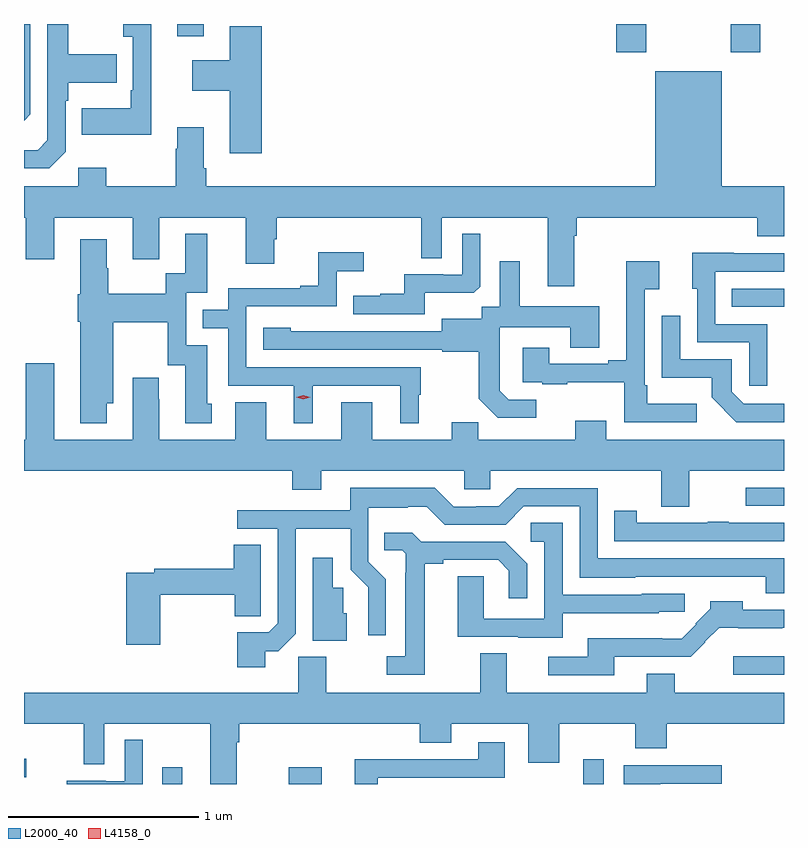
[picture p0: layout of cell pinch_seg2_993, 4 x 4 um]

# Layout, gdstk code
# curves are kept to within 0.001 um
import gdstk
lib = gdstk.Library(unit=1e-6, precision=1e-09)
def R(c, l, rs):  # rectangles x0, y0, x1, y1
    for r in rs: c.add(gdstk.rectangle(r[:2], r[2:], *l))
def P(c, l, *ps):  # polygons
    for p in ps: c.add(gdstk.Polygon(p, *l))
L2000_40 = (2000, 40)
L4158_0 = (4158, 0)

pinch_seg2_993 = lib.new_cell('pinch_seg2_993')
R(pinch_seg2_993, L2000_40, [(158.759,592.707,158.863,592.795), (159.425,592.707,159.598,592.795), (160.974,592.707,161.083,592.837), (158.031,592.742,158.044,592.841), (161.763,593.283,162.031,593.38), (161.829,594.171,162.031,594.267), (161.755,595.218,162.031,595.314), (161.147,596.559,161.307,596.707), (161.752,596.559,161.907,596.707), (158.837,596.643,158.977,596.707)])
P(pinch_seg2_993, L2000_40, [(158.25,596.034),(158.25,596.303),(158.263,596.303),(158.263,596.399),(158.519,596.399),(158.519,596.547),(158.263,596.547),(158.263,596.707),(158.154,596.707),(158.154,596.094),(158.103,596.043),(158.031,596.043),(158.031,595.947),(158.163,595.947)],
  [(158.064,596.232),(158.064,596.707),(158.031,596.707),(158.031,596.199)],
  [(158.702,596.707),(158.553,596.707),(158.553,596.639),(158.604,596.639),(158.604,596.359),(158.592,596.359),(158.592,596.263),(158.335,596.263),(158.335,596.123),(158.702,596.123)],
  [(159.281,596.695),(159.113,596.695),(159.113,596.515),(158.916,596.515),(158.916,596.357),(159.113,596.357),(159.113,596.028),(159.281,596.028)],
  [(159.197,595.446),(159.349,595.446),(159.349,595.575),(159.362,595.575),(159.362,595.688),(160.122,595.688),(160.122,595.474),(160.23,595.474),(160.23,595.688),(160.787,595.688),(160.787,595.326),(160.927,595.326),(160.927,595.592),(160.94,595.592),(160.94,595.688),(161.891,595.688),(161.891,595.589),(162.031,595.589),(162.031,595.852),(161.704,595.852),(161.704,596.458),(161.354,596.458),(161.354,595.852),(158.99,595.852),(158.99,595.948),(158.977,595.948),(158.977,596.164),(158.837,596.164),(158.837,596.051),(158.83,596.051),(158.83,595.852),(158.463,595.852),(158.463,595.951),(158.316,595.951),(158.316,595.852),(158.031,595.852),(158.031,595.688),(158.039,595.688),(158.039,595.47),(158.191,595.47),(158.191,595.688),(158.603,595.688),(158.603,595.47),(158.743,595.47),(158.743,595.688),(159.197,595.688)],
  [(158.467,594.71),(158.5,594.71),(158.5,595.136),(158.787,595.136),(158.787,594.911),(158.879,594.911),(158.879,594.606),(159.019,594.606),(159.019,594.708),(158.995,594.708),(158.995,595.017),(158.886,595.017),(158.886,595.293),(158.995,595.293),(158.995,595.603),(158.879,595.603),(158.879,595.394),(158.778,595.394),(158.778,595.288),(158.475,595.288),(158.475,595.422),(158.467,595.422),(158.467,595.573),(158.327,595.573),(158.327,595.284),(158.315,595.284),(158.315,595.14),(158.327,595.14),(158.327,594.605),(158.467,594.605)],
  [(160.141,595.292),(160.399,595.292),(160.431,595.323),(160.431,595.603),(160.338,595.603),(160.338,595.386),(160.238,595.386),(160.238,595.389),(160.031,595.389),(160.031,595.288),(159.907,595.288),(159.907,595.276),(159.763,595.276),(159.763,595.179),(160.141,595.179)],
  [(159.55,594.804),(160.01,594.804),(160.01,594.605),(160.108,594.605),(160.108,594.756),(160.12,594.756),(160.12,594.9),(159.201,594.9),(159.201,595.221),(159.678,595.221),(159.678,595.406),(159.82,595.406),(159.82,595.505),(159.58,595.505),(159.58,595.33),(159.485,595.33),(159.485,595.317),(159.105,595.317),(159.105,595.203),(158.971,595.203),(158.971,595.107),(159.105,595.107),(159.105,594.804),(159.452,594.804),(159.452,594.605),(159.55,594.605)],
  [(161.943,595.128),(161.67,595.128),(161.67,595.404),(162.031,595.404),(162.031,595.5),(161.767,595.5),(161.767,595.502),(161.549,595.502),(161.549,595.314),(161.574,595.314),(161.574,595.032),(161.847,595.032),(161.847,594.804),(161.943,594.804)],
  [(160.726,594.729),(160.581,594.729),(160.534,594.776),(160.534,594.871),(160.536,594.871),(160.536,595.112),(160.907,595.112),(160.907,595.003),(161.059,595.003),(161.059,595.222),(160.639,595.222),(160.639,595.459),(160.535,595.459),(160.535,595.22),(160.44,595.22),(160.44,595.156),(160.229,595.156),(160.229,595.089),(159.435,595.09),(159.435,595.108),(159.291,595.108),(159.291,594.993),(160.233,594.993),(160.233,594.981),(160.425,594.981),(160.425,594.735),(160.525,594.635),(160.726,594.635)],
  [(161.572,594.709),(161.311,594.709),(161.311,594.805),(161.298,594.805),(161.298,595.31),(161.374,595.31),(161.374,595.459),(161.201,595.459),(161.201,594.937),(161.105,594.937),(161.105,594.918),(160.795,594.918),(160.795,595.003),(160.655,595.003),(160.655,594.822),(160.759,594.822),(160.759,594.81),(160.891,594.81),(160.891,594.821),(161.19,594.821),(161.19,594.612),(161.572,594.612)],
  [(162.031,594.708),(161.82,594.708),(161.757,594.771),(161.757,594.942),(161.484,594.942),(161.484,595.171),(161.388,595.171),(161.388,594.845),(161.65,594.845),(161.65,594.743),(161.78,594.612),(162.031,594.612)],
  [(161.533,594.356),(162.031,594.356),(162.031,594.52),(161.095,594.52),(161.095,594.619),(160.931,594.619),(160.931,594.52),(160.421,594.52),(160.421,594.611),(160.283,594.611),(160.283,594.52),(159.865,594.52),(159.865,594.715),(159.701,594.715),(159.701,594.52),(159.307,594.52),(159.307,594.715),(159.143,594.715),(159.143,594.52),(158.743,594.52),(158.743,594.731),(158.741,594.731),(158.741,594.844),(158.603,594.844),(158.603,594.52),(158.191,594.52),(158.191,594.922),(158.039,594.922),(158.039,594.52),(158.031,594.52),(158.031,594.356),(159.443,594.356),(159.443,594.257),(159.595,594.257),(159.595,594.356),(160.347,594.356),(160.347,594.258),(160.485,594.258),(160.485,594.356),(161.386,594.356),(161.386,594.166),(161.533,594.166)],
  [(159.301,593.407),(159.369,593.407),(159.462,593.499),(159.462,594.05),(159.75,594.05),(159.75,593.834),(159.842,593.742),(159.842,593.49),(159.936,593.49),(159.936,593.784),(159.843,593.877),(159.843,594.161),(160.052,594.161),(160.052,594.165),(160.152,594.165),(160.245,594.072),(160.566,594.072),(160.662,594.168),(160.956,594.168),(160.956,593.792),(161.247,593.792),(161.247,593.799),(161.934,593.798),(161.934,593.71),(162.031,593.71),(162.031,593.895),(161.052,593.895),(161.052,594.264),(160.626,594.264),(160.53,594.168),(160.41,594.168),(160.41,594.165),(160.293,594.165),(160.193,594.265),(159.749,594.265),(159.749,594.147),(159.153,594.147),(159.153,594.051),(159.366,594.051),(159.366,593.553),(159.318,593.505),(159.154,593.505),(159.154,593.322),(159.301,593.322)],
  [(162.031,594.081),(161.741,594.081),(161.741,594.086),(161.629,594.086),(161.629,594.081),(161.256,594.081),(161.256,594.145),(161.137,594.145),(161.137,593.985),(162.031,593.985)],
  [(160.867,593.606),(161.373,593.606),(161.373,593.613),(161.508,593.613),(161.508,593.709),(161.283,593.709),(161.283,593.703),(160.866,593.703),(160.866,594.083),(160.698,594.083),(160.698,593.982),(160.77,593.982),(160.77,593.577),(160.452,593.577),(160.452,593.801),(160.313,593.801),(160.313,593.481),(160.631,593.481),(160.631,593.477),(160.867,593.477)],
  [(160.141,593.866),(160.237,593.866),(160.237,593.886),(160.526,593.886),(160.583,593.829),(160.583,593.685),(160.68,593.685),(160.68,593.866),(160.564,593.982),(160.122,593.982),(160.074,594.029),(159.928,594.029),(159.928,593.937),(160.023,593.937),(160.041,593.919),(160.041,593.819),(160.037,593.819),(160.037,593.379),(159.939,593.379),(159.939,593.283),(160.141,593.283)],
  [(158.748,593.704),(159.139,593.704),(159.139,593.59),(159.276,593.59),(159.276,593.698),(159.277,593.698),(159.277,593.966),(159.134,593.966),(159.134,593.84),(158.716,593.84),(158.716,593.82),(158.57,593.82),(158.57,593.439),(158.748,593.439)],
  [(159.73,593.607),(159.711,593.607),(159.711,593.739),(159.655,593.739),(159.655,593.899),(159.551,593.899),(159.551,593.462),(159.73,593.462)],
  [(161.137,593.376),(161.541,593.376),(161.617,593.453),(161.615,593.455),(161.689,593.529),(162.023,593.528),(162.023,593.53),(162.031,593.53),(162.031,593.625),(161.815,593.625),(161.815,593.668),(161.644,593.668),(161.644,593.629),(161.565,593.55),(161.568,593.547),(161.492,593.471),(161.39,593.471),(161.39,593.473),(160.997,593.473),(160.997,593.376),(160.791,593.376),(160.791,593.28),(161.137,593.28)],
  [(159.151,592.928),(159.164,592.928),(159.164,593.024),(160.115,593.024),(160.115,592.925),(160.279,592.925),(160.279,593.024),(160.685,593.024),(160.685,592.818),(160.849,592.818),(160.849,593.024),(161.249,593.024),(161.249,592.896),(161.413,592.896),(161.413,593.024),(162.031,593.024),(162.031,593.188),(161.457,593.188),(161.457,593.287),(161.309,593.287),(161.309,593.188),(160.573,593.188),(160.573,593.396),(160.433,593.396),(160.433,593.188),(159.621,593.188),(159.621,593.377),(159.474,593.377),(159.474,593.188),(158.031,593.188),(158.031,593.024),(158.346,593.024),(158.346,592.81),(158.454,592.81),(158.454,593.024),(159.011,593.024),(159.011,592.707),(159.151,592.707)],
  [(158.655,592.939),(158.562,592.939),(158.562,592.722),(158.462,592.722),(158.462,592.725),(158.255,592.725),(158.255,592.707),(158.655,592.707)],
  [(159.894,592.74),(160.561,592.74),(160.561,592.927),(160.421,592.927),(160.421,592.836),(159.991,592.836),(159.991,592.838),(159.773,592.838),(159.773,592.707),(159.894,592.707)],
  [(161.38,592.709),(161.704,592.709),(161.704,592.806),(161.187,592.806),(161.187,592.707),(161.38,592.707)])
P(pinch_seg2_993, L4158_0, [(159.501,594.733),(159.465,594.742),(159.465,594.743),(159.465,594.743),(159.501,594.753),(159.537,594.743),(159.537,594.743),(159.537,594.742)])

lib.write_gds('pinch_seg2_993.gds')
